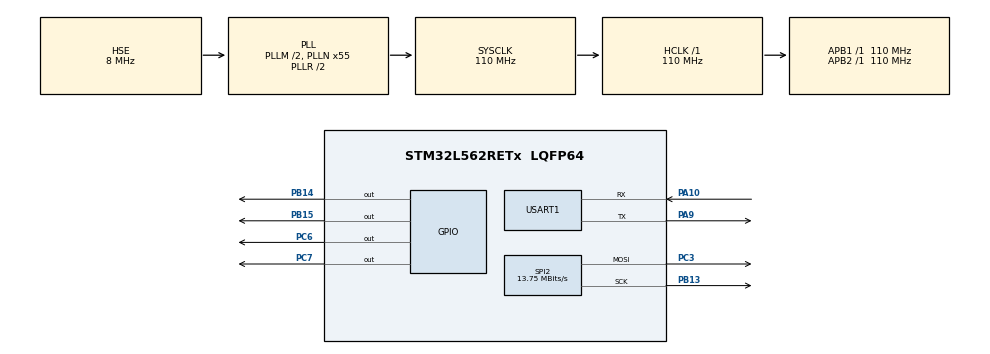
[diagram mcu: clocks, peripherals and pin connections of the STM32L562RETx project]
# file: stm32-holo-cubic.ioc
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Mcu.Family=STM32L5
Mcu.Name=STM32L562RETx
Mcu.Package=LQFP64
NVIC.PriorityGroup=NVIC_PRIORITYGROUP_3
PA10.Mode=Asynchronous
PA10.Signal=USART1_RX
PA9.Mode=Asynchronous
PA9.Signal=USART1_TX
PB13.Mode=TX_Only_Simplex_Unidirect_Master
PB13.Signal=SPI2_SCK
PB14.Signal=GPIO_Output
PB15.Signal=GPIO_Output
PC14-OSC32_IN\ (PC14).Mode=LSE-External-Oscillator
PC14-OSC32_IN\ (PC14).Signal=RCC_OSC32_IN
PC15-OSC32_OUT\ (PC15).Mode=LSE-External-Oscillator
PC15-OSC32_OUT\ (PC15).Signal=RCC_OSC32_OUT
PC3.Mode=TX_Only_Simplex_Unidirect_Master
PC3.Signal=SPI2_MOSI
PC6.Signal=GPIO_Output
PC7.Signal=GPIO_Output
PH0-OSC_IN\ (PH0).Mode=HSE-External-Oscillator
PH0-OSC_IN\ (PH0).Signal=RCC_OSC_IN
PH1-OSC_OUT\ (PH1).Mode=HSE-External-Oscillator
PH1-OSC_OUT\ (PH1).Signal=RCC_OSC_OUT
ProjectManager.HeapSize=0x200
ProjectManager.StackSize=0x400
ProjectManager.TargetToolchain=MDK-ARM V5.27
RCC.AHBFreq_Value=110000000
RCC.APB1Freq_Value=110000000
RCC.APB1TimFreq_Value=110000000
RCC.APB2Freq_Value=110000000
RCC.APB2TimFreq_Value=110000000
RCC.CortexFreq_Value=110000000
RCC.HCLKFreq_Value=110000000
RCC.HSE_VALUE=8000000
RCC.HSI48_VALUE=48000000
RCC.HSI_VALUE=16000000
RCC.MSI_VALUE=4000000
RCC.PLLM=2
RCC.PLLN=55
RCC.PLLSourceVirtual=RCC_PLLSOURCE_HSE
RCC.SYSCLKFreq_VALUE=110000000
RCC.SYSCLKSource=RCC_SYSCLKSOURCE_PLLCLK
RCC.VCOOutputFreq_Value=220000000
SPI2.BaudRatePrescaler=SPI_BAUDRATEPRESCALER_8
SPI2.CLKPhase=SPI_PHASE_2EDGE
SPI2.CLKPolarity=SPI_POLARITY_HIGH
SPI2.CalculateBaudRate=13.75 MBits/s
SPI2.DataSize=SPI_DATASIZE_8BIT
SPI2.Direction=SPI_DIRECTION_2LINES
SPI2.Mode=SPI_MODE_MASTER
SPI2.VirtualType=VM_MASTER
USART1.VirtualMode-Asynchronous=VM_ASYNC
VP_ICACHE_VS_ICACHE.Mode=DirectMappedCache
VP_PWR_VS_DBSignals.Mode=DisableDeadBatterySignals
VP_PWR_VS_SECSignals.Mode=Security/Privilege
board=custom

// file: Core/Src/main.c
/* USER CODE BEGIN Header */
/**
  ******************************************************************************
  * @file           : main.c
  * @brief          : Main program body
  ******************************************************************************
  * @attention
  *
  * Copyright (c) 2022 STMicroelectronics.
  * All rights reserved.
  *
  * This software is licensed under terms that can be found in the LICENSE file
  * in the root directory of this software component.
  * If no LICENSE file comes with this software, it is provided AS-IS.
  *
  ******************************************************************************
  */
/* USER CODE END Header */
#include "main.h"
#include "icache.h"
#include "spi.h"
#include "usart.h"
#include "gpio.h"

/* USER CODE BEGIN Includes */
#include <stdio.h>
#include "tos_k.h"
#include "lcd_spi_drv.h"
#include "lvgl.h"
#include "examples/porting/lv_port_disp.h"
#include "examples/lv_examples.h"
/* USER CODE END Includes */

/* USER CODE BEGIN PD */
#define FIRMWARE_VERSION    "v1.0.0"
/* USER CODE END PD */

void SystemClock_Config(void);

/* USER CODE BEGIN 0 */

#define LVGL_TASK_STACK_SIZE    2048
#define LVGL_TASK_PRIO          4
k_task_t lvgl_task;
k_stack_t lvgl_task_stack[LVGL_TASK_STACK_SIZE];

void lvgl_task_entry(void *arg)
{
    lv_init();
    lv_port_disp_init();
    lv_example_label_1();

    while (1) {
        lv_task_handler();
        tos_task_delay(5);
    }
}

/* USER CODE END 0 */

int main(void)
{
  /* USER CODE BEGIN 1 */
    k_err_t err;

  /* USER CODE END 1 */

  /* MCU Configuration--------------------------------------------------------*/

  /* Reset of all peripherals, Initializes the Flash interface and the Systick. */
  HAL_Init();

  /* Configure the system clock */
  SystemClock_Config();

  /* Initialize all configured peripherals */
  MX_GPIO_Init();
  MX_USART1_UART_Init();
  MX_SPI2_Init();
  MX_ICACHE_Init();
  /* USER CODE BEGIN 2 */
  printf("STM32 Holo Cubic, powered by TencentOS Tiny!(%s)\r\n", FIRMWARE_VERSION);

  // it will be init by lvgl.
  //lcd_init();

  tos_knl_init();

  err = tos_task_create(&lvgl_task, "lvgl_task", lvgl_task_entry, NULL, LVGL_TASK_PRIO,
                        lvgl_task_stack, LVGL_TASK_STACK_SIZE, 0);

  tos_knl_start();

  /* USER CODE END 2 */

  /* Infinite loop */
  while (1)
  {

  }
}

void SystemClock_Config(void)
{
  RCC_OscInitTypeDef RCC_OscInitStruct = {0};
  RCC_ClkInitTypeDef RCC_ClkInitStruct = {0};

  /** Configure the main internal regulator output voltage
  */
  if (HAL_PWREx_ControlVoltageScaling(PWR_REGULATOR_VOLTAGE_SCALE0) != HAL_OK)
  {
    Error_Handler();
  }

  /** Initializes the RCC Oscillators according to the specified parameters
  * in the RCC_OscInitTypeDef structure.
  */
  RCC_OscInitStruct.OscillatorType = RCC_OSCILLATORTYPE_HSE;
  RCC_OscInitStruct.HSEState = RCC_HSE_ON;
  RCC_OscInitStruct.PLL.PLLState = RCC_PLL_ON;
  RCC_OscInitStruct.PLL.PLLSource = RCC_PLLSOURCE_HSE;
  RCC_OscInitStruct.PLL.PLLM = 2;
  RCC_OscInitStruct.PLL.PLLN = 55;
  RCC_OscInitStruct.PLL.PLLP = RCC_PLLP_DIV7;
  RCC_OscInitStruct.PLL.PLLQ = RCC_PLLQ_DIV2;
  RCC_OscInitStruct.PLL.PLLR = RCC_PLLR_DIV2;
  if (HAL_RCC_OscConfig(&RCC_OscInitStruct) != HAL_OK)
  {
    Error_Handler();
  }

  /** Initializes the CPU, AHB and APB buses clocks
  */
  RCC_ClkInitStruct.ClockType = RCC_CLOCKTYPE_HCLK|RCC_CLOCKTYPE_SYSCLK
                              |RCC_CLOCKTYPE_PCLK1|RCC_CLOCKTYPE_PCLK2;
  RCC_ClkInitStruct.SYSCLKSource = RCC_SYSCLKSOURCE_PLLCLK;
  RCC_ClkInitStruct.AHBCLKDivider = RCC_SYSCLK_DIV1;
  RCC_ClkInitStruct.APB1CLKDivider = RCC_HCLK_DIV1;
  RCC_ClkInitStruct.APB2CLKDivider = RCC_HCLK_DIV1;

  if (HAL_RCC_ClockConfig(&RCC_ClkInitStruct, FLASH_LATENCY_5) != HAL_OK)
  {
    Error_Handler();
  }
}

void Error_Handler(void)
{
  __disable_irq();
  while (1)
  {
  }
}
